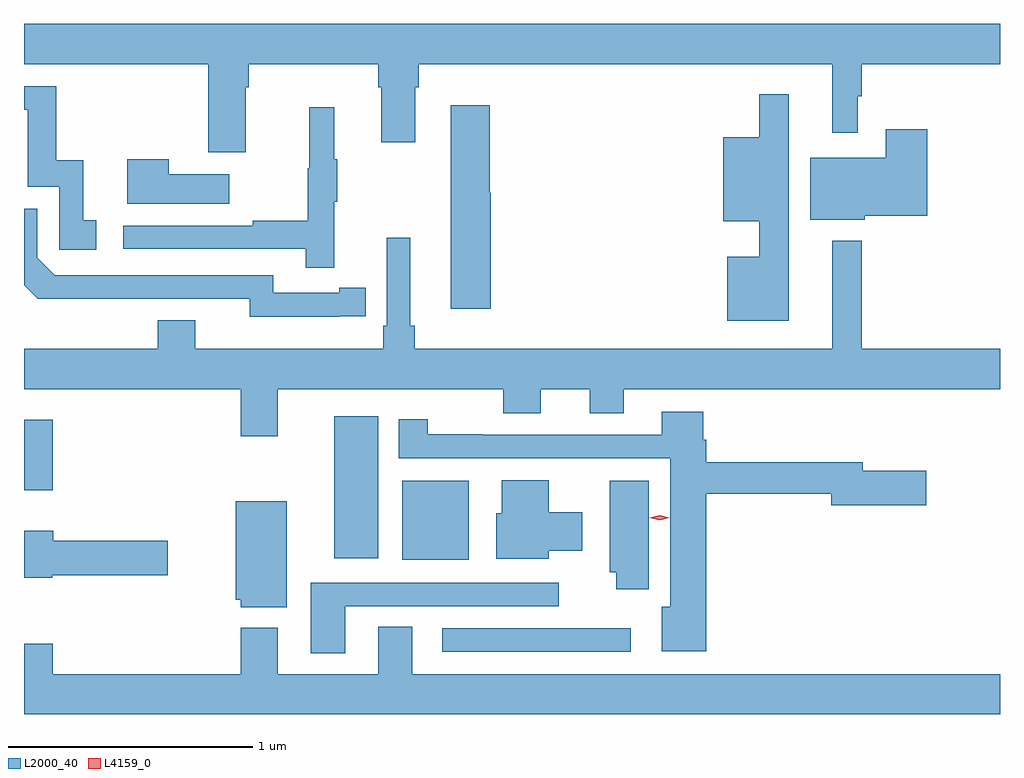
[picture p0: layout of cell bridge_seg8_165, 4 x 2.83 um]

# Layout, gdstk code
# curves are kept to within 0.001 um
import gdstk
lib = gdstk.Library(unit=1e-6, precision=1e-09)
def R(c, l, rs):  # rectangles x0, y0, x1, y1
    for r in rs: c.add(gdstk.rectangle(r[:2], r[2:], *l))
def P(c, l, *ps):  # polygons
    for p in ps: c.add(gdstk.Polygon(p, *l))
L2000_40 = (2000, 40)
L4159_0 = (4159, 0)

bridge_seg8_165 = lib.new_cell('bridge_seg8_165')
R(bridge_seg8_165, L2000_40, [(591.765,1118.088,592.537,1118.184), (591.602,1118.465,591.874,1118.788), (591.323,1118.471,591.502,1119.052), (590.051,1118.75,590.168,1119.037)])
P(bridge_seg8_165, L2000_40, [(590.959,1120.4),(590.972,1120.4),(590.972,1120.496),(591.503,1120.496),(591.503,1120.4),(591.515,1120.4),(591.515,1120.176),(591.655,1120.176),(591.655,1120.4),(591.668,1120.4),(591.668,1120.496),(593.363,1120.496),(593.363,1120.215),(593.467,1120.215),(593.467,1120.364),(593.485,1120.364),(593.485,1120.496),(594.051,1120.496),(594.051,1120.66),(590.051,1120.66),(590.051,1120.496),(590.807,1120.496),(590.807,1120.134),(590.959,1120.134)],
  [(590.347,1119.855),(590.294,1119.855),(590.294,1120.102),(590.183,1120.102),(590.183,1120.404),(590.051,1120.404),(590.051,1120.308),(590.067,1120.308),(590.067,1119.993),(590.196,1119.993),(590.196,1119.735),(590.347,1119.735)],
  [(593.185,1120.372),(593.064,1120.372),(593.064,1120.195),(592.916,1120.195),(592.916,1119.851),(593.064,1119.851),(593.064,1119.706),(592.934,1119.706),(592.934,1119.443),(593.185,1119.443)],
  [(591.964,1119.969),(591.959,1119.969),(591.959,1120.327),(591.8,1120.327),(591.8,1119.492),(591.964,1119.492)],
  [(591.323,1119.931),(591.334,1119.931),(591.334,1120.105),(591.323,1120.105),(591.323,1120.318),(591.22,1120.318),(591.22,1120.068),(591.213,1120.068),(591.213,1119.854),(590.989,1119.854),(590.989,1119.834),(590.457,1119.834),(590.457,1119.738),(591.205,1119.738),(591.205,1119.66),(591.323,1119.66)],
  [(593.496,1119.875),(593.753,1119.875),(593.753,1120.228),(593.582,1120.228),(593.582,1120.111),(593.273,1120.111),(593.273,1119.857),(593.496,1119.857)],
  [(590.893,1120.045),(590.645,1120.045),(590.645,1120.105),(590.474,1120.105),(590.474,1119.923),(590.893,1119.923)],
  [(591.344,1119.462),(591.452,1119.462),(591.452,1119.578),(591.344,1119.578),(591.344,1119.558),(591.072,1119.558),(591.072,1119.63),(590.178,1119.63),(590.106,1119.702),(590.106,1119.903),(590.051,1119.903),(590.051,1119.589),(590.108,1119.533),(590.976,1119.534),(590.976,1119.461)],
  [(591.091,1119.164),(592.016,1119.164),(592.016,1119.065),(592.168,1119.065),(592.168,1119.164),(592.37,1119.164),(592.37,1119.065),(592.51,1119.065),(592.51,1119.164),(594.051,1119.164),(594.051,1119.328),(593.485,1119.328),(593.485,1119.772),(593.363,1119.772),(593.363,1119.328),(591.653,1119.328),(591.653,1119.424),(591.634,1119.424),(591.634,1119.784),(591.537,1119.784),(591.537,1119.424),(591.524,1119.424),(591.524,1119.328),(590.752,1119.328),(590.752,1119.445),(590.6,1119.445),(590.6,1119.328),(590.051,1119.328),(590.051,1119.164),(590.939,1119.164),(590.939,1118.97),(591.091,1118.97)],
  [(592.847,1118.734),(593.36,1118.734),(593.36,1118.687),(593.749,1118.687),(593.749,1118.829),(593.488,1118.829),(593.488,1118.863),(592.847,1118.863),(592.847,1118.957),(592.834,1118.957),(592.834,1119.07),(592.664,1119.07),(592.664,1118.976),(591.932,1118.976),(591.932,1118.978),(591.705,1118.978),(591.705,1119.04),(591.587,1119.04),(591.587,1118.88),(592.7,1118.88),(592.7,1118.272),(592.664,1118.272),(592.664,1118.09),(592.847,1118.09)],
  [(592.201,1118.501),(592.339,1118.501),(592.339,1118.659),(592.201,1118.659),(592.201,1118.791),(592.01,1118.791),(592.01,1118.655),(591.986,1118.655),(591.986,1118.468),(592.201,1118.468)],
  [(592.612,1118.788),(592.451,1118.788),(592.451,1118.412),(592.478,1118.412),(592.478,1118.343),(592.612,1118.343)],
  [(591.127,1118.704),(590.918,1118.704),(590.918,1118.301),(590.94,1118.301),(590.94,1118.27),(591.127,1118.27)],
  [(590.166,1118.401),(590.641,1118.401),(590.641,1118.543),(590.17,1118.543),(590.17,1118.584),(590.051,1118.584),(590.051,1118.396),(590.052,1118.396),(590.052,1118.39),(590.166,1118.39)],
  [(591.367,1118.274),(592.243,1118.274),(592.243,1118.37),(591.227,1118.37),(591.227,1118.082),(591.367,1118.082)],
  [(594.051,1117.996),(591.643,1117.996),(591.643,1118.189),(591.503,1118.189),(591.503,1117.996),(591.091,1117.996),(591.091,1118.185),(590.939,1118.185),(590.939,1117.996),(590.168,1117.996),(590.168,1118.12),(590.051,1118.12),(590.051,1117.832),(594.051,1117.832)])
P(bridge_seg8_165, L4159_0, [(592.656,1118.626),(592.615,1118.636),(592.615,1118.636),(592.615,1118.636),(592.656,1118.646),(592.696,1118.637),(592.696,1118.637),(592.696,1118.637)])

lib.write_gds('bridge_seg8_165.gds')
